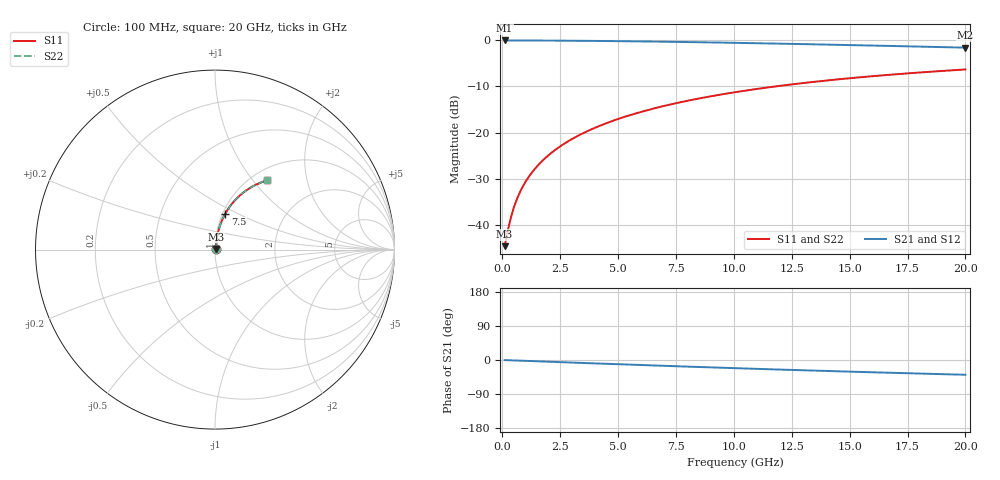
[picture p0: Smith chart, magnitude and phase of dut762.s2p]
! Touchstone file exported from HFSS 2024.1.0
!  File:  C:/UserFiles/LocalFiles/RDL_TSV_Batchsim/temp_RDL_bottom_762_1779860269.aedt
!  Generated:  01:40:22 PM May 27, 2026
!  Design:  RDL_bottom
!  Project:  temp_RDL_bottom_762_1779860269
!  Setup:  Setup1
!  Solution:  Sweep
! Variables:
!  dtsv = 10.80580581um
!  hbump = 3um
!  htsv = 74.45um
!  ldown = 432.1um
!  lrdl = 100um
!  p = 40
!  p1 = 59.22um
!  rhole = 1um
!  t = 450um
!  tdown = 2.73um
!  trdl = 3.915915916um
!  wdown = 11.22um
!  wrdl = 20um
# GHz S MA R 50.000000
! Terminal data exported
! Port[1] = RDL1_T1
! Port[2] = RDL1_T2
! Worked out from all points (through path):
!   200 points, 100 MHz to 20 GHz, reference 50 ohm
!   highest |S21| = -0.04 dB at 100 MHz (marker M1); lowest = -1.6 dB at 20 GHz (marker M2)
!   group delay of S21, straight-line fit = 5.42 ps
!   lowest |S11| = -44.6 dB at 100 MHz (marker M3), VSWR 1.01, Z = 50.5 + j0.292 ohm
!   |S11| at or under -10 dB: start of sweep to 11.81 GHz
!   |S22| runs from -44.6 to -6.3 dB; largest |S21 - S12| = 3.2e-15
!   S11 on the Smith chart (normalised r, x): 100 MHz: 1.01, +0.01; 7.5 GHz: 1.03, +0.43; 20 GHz: 1.18, +1.18
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0.1  0.005861 29.6  0.9949 -0.2  0.9949 -0.2  0.005861 29.6
! Gamma 0 0 0 0
! Port Impedance 50 0 50 0
0.3  0.01012 58.8  0.9948 -0.7  0.9948 -0.7  0.01012 58.8
0.4  0.01271 65.0  0.9947 -0.9  0.9947 -0.9  0.01271 65.0
0.5  0.01539 69.0  0.9945 -1.2  0.9945 -1.2  0.01539 69.0
0.6  0.01811 71.7  0.9944 -1.4  0.9944 -1.4  0.01811 71.7
0.7  0.02085 73.7  0.9942 -1.6  0.9942 -1.6  0.02085 73.6
0.9  0.02636 76.2  0.9939 -2.1  0.9939 -2.1  0.02636 76.2
1.2  0.03466 78.4  0.9934 -2.7  0.9934 -2.7  0.03466 78.4
1.4  0.0402 79.2  0.993 -3.2  0.993 -3.2  0.0402 79.2
1.7  0.04852 80.0  0.9923 -3.9  0.9923 -3.9  0.04852 80.0
2.2  0.06242 80.5  0.9909 -5.0  0.9909 -5.0  0.06242 80.5
2.8  0.07911 80.5  0.9889 -6.3  0.9889 -6.3  0.07911 80.5
3.5  0.09858 80.0  0.986 -7.9  0.986 -7.9  0.09858 80.0
4.2  0.118 79.2  0.9826 -9.4  0.9826 -9.4  0.118 79.2
5  0.1401 78.1  0.9781 -11.2  0.9781 -11.2  0.1401 78.1
5.9  0.1647 76.8  0.9723 -13.1  0.9723 -13.1  0.1647 76.8
6.8  0.189 75.3  0.9659 -15.0  0.9659 -15.0  0.189 75.3
7.5  0.2077 74.1  0.9604 -16.4  0.9604 -16.4  0.2077 74.1
10.1  0.2747 69.5  0.9374 -21.7  0.9374 -21.7  0.2747 69.5
13.4  0.3528 63.7  0.904 -27.9  0.904 -27.9  0.3528 63.7
16.7  0.4221 58.2  0.8682 -33.6  0.8682 -33.6  0.4221 58.2
20  0.4824 53.0  0.8318 -38.9  0.8318 -38.9  0.4824 53.0
